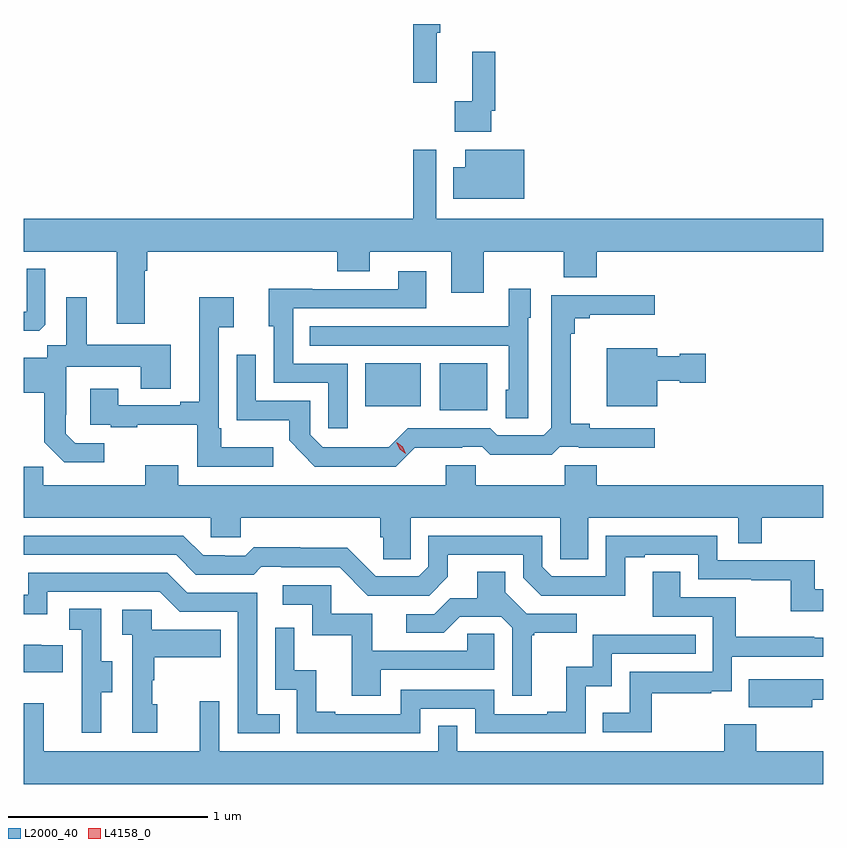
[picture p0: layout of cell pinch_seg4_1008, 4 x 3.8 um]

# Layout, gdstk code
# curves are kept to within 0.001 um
import gdstk
lib = gdstk.Library(unit=1e-6, precision=1e-09)
def R(c, l, rs):  # rectangles x0, y0, x1, y1
    for r in rs: c.add(gdstk.rectangle(r[:2], r[2:], *l))
def P(c, l, *ps):  # polygons
    for p in ps: c.add(gdstk.Polygon(p, *l))
L2000_40 = (2000, 40)
L4158_0 = (4158, 0)

pinch_seg4_1008 = lib.new_cell('pinch_seg4_1008')
R(pinch_seg4_1008, L2000_40, [(797.102,781.373,797.341,781.609), (796.73,781.394,797.008,781.609)])
P(pinch_seg4_1008, L2000_40, [(797.087,783.264),(797.105,783.264),(797.105,783.307),(796.969,783.307),(796.969,783.012),(797.087,783.012)],
  [(797.361,782.872),(797.381,782.872),(797.381,783.169),(797.264,783.169),(797.264,782.921),(797.178,782.921),(797.178,782.768),(797.361,782.768)],
  [(795.021,782.168),(795.485,782.168),(795.485,781.806),(795.625,781.806),(795.625,782.072),(795.638,782.072),(795.638,782.168),(796.589,782.168),(796.589,782.069),(796.753,782.069),(796.753,782.168),(797.159,782.168),(797.159,781.962),(797.323,781.962),(797.323,782.168),(797.723,782.168),(797.723,782.04),(797.887,782.04),(797.887,782.168),(799.021,782.168),(799.021,782.332),(797.085,782.332),(797.085,782.677),(796.969,782.677),(796.969,782.332),(795.021,782.332)],
  [(797.524,782.677),(797.231,782.677),(797.231,782.59),(797.17,782.59),(797.17,782.432),(797.524,782.432)],
  [(795.129,781.803),(795.129,782.083),(795.036,782.083),(795.036,781.866),(795.021,781.866),(795.021,781.772),(795.097,781.772)],
  [(796.641,781.608),(796.368,781.608),(796.368,781.884),(797.035,781.884),(797.035,782.071),(796.895,782.071),(796.895,781.98),(796.465,781.98),(796.465,781.982),(796.247,781.982),(796.247,781.794),(796.272,781.794),(796.272,781.512),(796.545,781.512),(796.545,781.284),(796.641,781.284)],
  [(797.544,781.836),(797.557,781.836),(797.557,781.981),(797.448,781.981),(797.448,781.795),(797.131,781.795),(797.131,781.794),(796.453,781.794),(796.453,781.698),(797.448,781.698),(797.448,781.476),(797.432,781.476),(797.432,781.333),(797.544,781.333)],
  [(796.976,781.187),(797.216,781.187),(797.216,781.191),(797.316,781.191),(797.356,781.152),(797.663,781.152),(797.703,781.191),(797.797,781.191),(797.797,781.187),(798.178,781.187),(798.178,781.284),(797.854,781.284),(797.854,781.307),(797.759,781.307),(797.759,781.757),(797.777,781.757),(797.777,781.834),(797.854,781.834),(797.854,781.853),(798.178,781.853),(798.178,781.95),(797.661,781.95),(797.661,781.287),(797.622,781.248),(797.391,781.248),(797.355,781.284),(796.941,781.284),(796.847,781.19),(796.742,781.19),(796.742,781.188),(796.518,781.188),(796.455,781.251),(796.455,781.422),(796.182,781.422),(796.182,781.651),(796.086,781.651),(796.086,781.325),(796.348,781.325),(796.348,781.223),(796.478,781.092),(796.881,781.092)],
  [(796.27,781.189),(796.009,781.189),(796.009,781.285),(795.996,781.285),(795.996,781.79),(796.072,781.79),(796.072,781.939),(795.899,781.939),(795.899,781.417),(795.803,781.417),(795.803,781.398),(795.493,781.398),(795.493,781.483),(795.353,781.483),(795.353,781.302),(795.457,781.302),(795.457,781.29),(795.589,781.29),(795.589,781.301),(795.888,781.301),(795.888,781.092),(796.27,781.092)],
  [(795.424,781.209),(795.279,781.209),(795.232,781.256),(795.232,781.351),(795.234,781.351),(795.234,781.592),(795.605,781.592),(795.605,781.483),(795.757,781.483),(795.757,781.702),(795.337,781.702),(795.337,781.939),(795.233,781.939),(795.233,781.7),(795.138,781.7),(795.138,781.636),(795.021,781.636),(795.021,781.461),(795.123,781.461),(795.123,781.215),(795.223,781.115),(795.424,781.115)],
  [(798.19,781.523),(798.303,781.523),(798.303,781.511),(798.433,781.511),(798.433,781.658),(798.303,781.658),(798.303,781.645),(798.19,781.645),(798.19,781.684),(797.939,781.684),(797.939,781.394),(798.19,781.394)],
  [(797.706,780.628),(797.845,780.628),(797.845,780.836),(798.597,780.836),(798.597,780.709),(798.713,780.709),(798.713,780.836),(799.021,780.836),(799.021,781),(797.888,781),(797.888,781.098),(797.728,781.098),(797.728,781),(797.283,781),(797.283,781.098),(797.132,781.098),(797.132,781),(795.793,781),(795.793,781.099),(795.629,781.099),(795.629,781),(795.119,781),(795.119,781.091),(795.021,781.091),(795.021,780.836),(795.957,780.836),(795.957,780.738),(796.107,780.738),(796.107,780.836),(796.805,780.836),(796.805,780.738),(796.819,780.738),(796.819,780.628),(796.956,780.628),(796.956,780.836),(797.706,780.836)],
  [(799.021,780.478),(798.979,780.478),(798.979,780.624),(798.492,780.624),(798.492,780.747),(797.934,780.747),(797.934,780.543),(797.664,780.543),(797.616,780.591),(797.616,780.747),(797.046,780.747),(797.046,780.591),(796.998,780.543),(796.782,780.543),(796.64,780.685),(796.404,780.685),(796.404,780.688),(796.171,780.688),(796.129,780.645),(796.026,780.645),(796.026,780.648),(795.919,780.648),(795.82,780.747),(795.021,780.747),(795.021,780.651),(795.783,780.651),(795.882,780.552),(796.171,780.552),(796.21,780.591),(796.309,780.591),(796.309,780.588),(796.602,780.588),(796.743,780.447),(797.049,780.447),(797.143,780.541),(797.143,780.651),(797.52,780.651),(797.52,780.537),(797.61,780.447),(798.031,780.446),(798.031,780.639),(798.127,780.639),(798.127,780.651),(798.396,780.651),(798.396,780.528),(798.661,780.528),(798.661,780.523),(798.858,780.523),(798.858,780.368),(799.021,780.368)],
  [(797.563,780.249),(797.575,780.249),(797.575,780.26),(797.788,780.26),(797.788,780.357),(797.538,780.357),(797.431,780.464),(797.431,780.566),(797.291,780.566),(797.291,780.434),(797.156,780.434),(797.076,780.354),(796.935,780.354),(796.935,780.261),(797.122,780.261),(797.203,780.342),(797.409,780.342),(797.466,780.285),(797.466,779.946),(797.563,779.946)],
  [(798.163,779.958),(798.461,779.958),(798.461,779.969),(798.564,779.969),(798.564,780.141),(799.021,780.141),(799.021,780.237),(798.977,780.237),(798.977,780.242),(798.584,780.242),(798.584,780.438),(798.307,780.438),(798.307,780.566),(798.167,780.566),(798.167,780.342),(798.468,780.342),(798.468,780.066),(798.052,780.066),(798.052,779.86),(797.917,779.86),(797.917,779.763),(798.163,779.763)],
  [(796.301,779.853),(796.188,779.853),(796.188,780.462),(795.838,780.462),(795.739,780.561),(795.042,780.561),(795.042,780.45),(795.021,780.45),(795.021,780.353),(795.138,780.353),(795.138,780.465),(795.702,780.465),(795.801,780.366),(796.092,780.366),(796.092,779.757),(796.301,779.757)],
  [(796.807,780.075),(797.376,780.075),(797.376,780.255),(797.239,780.255),(797.239,780.171),(796.765,780.171),(796.765,780.357),(796.56,780.357),(796.56,780.498),(796.317,780.498),(796.317,780.402),(796.464,780.402),(796.464,780.249),(796.663,780.249),(796.663,779.946),(796.807,779.946)],
  [(795.409,779.962),(795.463,779.962),(795.463,780.117),(795.408,780.117),(795.408,780.38),(795.249,780.38),(795.249,780.277),(795.312,780.277),(795.312,779.973),(795.311,779.973),(795.311,779.76),(795.409,779.76)],
  [(795.688,779.904),(795.663,779.904),(795.663,780.023),(795.673,780.023),(795.673,780.137),(796.007,780.137),(796.007,780.277),(795.66,780.277),(795.66,780.375),(795.513,780.375),(795.513,780.251),(795.564,780.251),(795.564,779.76),(795.688,779.76)],
  [(797.004,779.88),(797.28,779.88),(797.28,779.757),(797.832,779.757),(797.832,779.993),(797.964,779.993),(797.964,780.156),(798.383,780.156),(798.383,780.252),(797.868,780.252),(797.868,780.091),(797.735,780.091),(797.735,779.866),(797.639,779.866),(797.639,779.853),(797.376,779.853),(797.376,779.976),(796.908,779.976),(796.908,779.853),(796.579,779.853),(796.579,779.866),(796.484,779.866),(796.484,780.074),(796.374,780.074),(796.374,780.286),(796.278,780.286),(796.278,779.976),(796.386,779.976),(796.386,779.757),(797.004,779.757)],
  [(795.215,780.199),(795.107,780.199),(795.107,780.202),(795.021,780.202),(795.021,780.062),(795.215,780.062)],
  [(798.967,779.926),(799.021,779.926),(799.021,780.027),(798.863,780.027),(798.863,780.028),(798.649,780.028),(798.649,779.888),(798.967,779.888)],
  [(799.021,779.668),(798.686,779.668),(798.686,779.803),(798.526,779.803),(798.526,779.668),(797.19,779.668),(797.19,779.795),(797.094,779.795),(797.094,779.668),(795.999,779.668),(795.999,779.917),(795.902,779.917),(795.902,779.668),(795.121,779.668),(795.121,779.908),(795.021,779.908),(795.021,779.504),(799.021,779.504)])
P(pinch_seg4_1008, L4158_0, [(796.932,781.157),(796.901,781.178),(796.886,781.212),(796.886,781.213),(796.886,781.213),(796.916,781.191),(796.932,781.157),(796.932,781.157)])

lib.write_gds('pinch_seg4_1008.gds')
